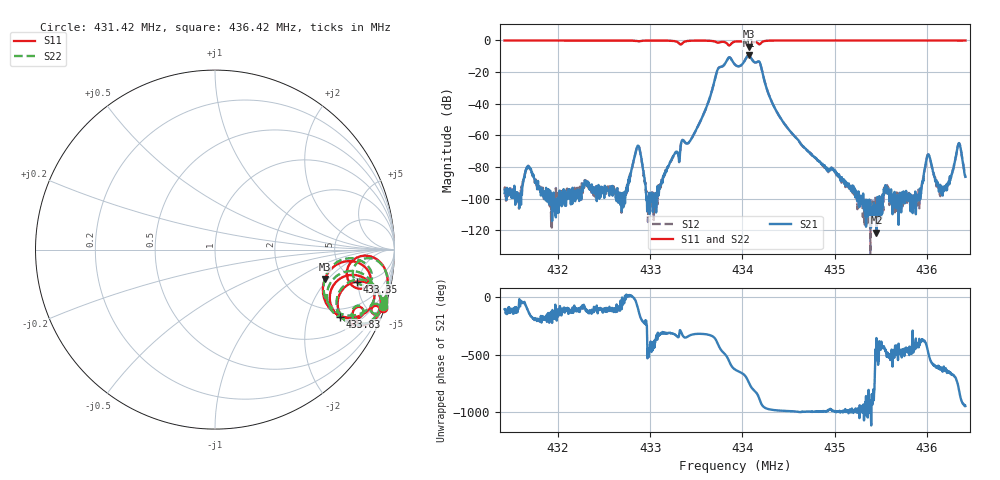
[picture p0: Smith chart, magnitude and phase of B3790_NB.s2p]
! Matrix data file written by TouchstoneData, EPCOS AG
! FILENAME: "B3790_SB.s2p"
! COMMENT: "1 Dec 2004 S11-NoP:1601;Caltype:FULL2PORT;P"
! INFO: nport=2, nfreq=1601
! DATE: "Wed Sep 19 15:42:08 2012"
! USER: "Wilfried Schott"
! port | pin | signal
!  1  |  2  |  IN
!  2  |  5  |  OUT
!  3  |  7  |  Coupling coil
# MHZ S MA R 50
! freq  magS11 angS11  magS21 angS21  magS12 angS12  magS22 angS22
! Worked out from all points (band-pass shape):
!   1601 points, 431.42 MHz to 436.42 MHz, reference 50 ohm
!   highest |S21| = -9.58 dB at 434.07 MHz (marker M1); lowest = -121.6 dB at 435.45 MHz (marker M2)
!   |S21| within 3 dB of the highest: 433.8325 MHz to 433.8862 MHz (53.67 kHz wide, 0.0124 % of centre); 434.0274 MHz to 434.1094 MHz (81.96 kHz wide, 0.0189 % of centre)
!   lowest |S11| = -4.0 dB at 434.07 MHz (marker M3), VSWR 4.46, Z = 169 - j92.5 ohm
!   |S11| at or under -10 dB: nowhere
!   |S22| runs from -4.0 to -0.1 dB; largest |S21 - S12| = 0.0011
!   S11 on the Smith chart (normalised r, x): 431.42 MHz: 0.23, -5.94; 433.35 MHz: 4.55, -4.74; 433.83 MHz: 1.60, -3.23; 436.42 MHz: 0.31, -6.69
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431.42  0.9877 -19.1  1.485e-05 -103.4  1.824e-05 -103.3  0.9862 -18.7
432.2544  0.9869 -19.7  1.688e-05 -85.9  9.311e-06 -54.9  0.9854 -19.3
432.7825  0.9785 -21.5  5.589e-05 17.9  4.85e-05 15.6  0.9754 -21.2
432.8669  0.9351 -21.3  0.0004655 -95.3  0.000465 -95.3  0.9253 -20.3
432.9356  0.9725 -19.6  4.777e-05 140.0  3.598e-05 149.0  0.9738 -19.2
433.0888  0.9805 -21.6  1.765e-05 48.1  2.622e-05 46.7  0.9794 -21.3
433.3512  0.8112 -12.7  0.0007177 28.1  0.0007138 28.7  0.8258 -11.6
433.47  0.9738 -18.5  0.001022 37.3  0.001025 37.5  0.9735 -18.2
433.7325  0.8444 -24.8  0.1204 -44.9  0.1201 -44.7  0.8381 -24.5
433.8325  0.7923 -28.3  0.235 -160.0  0.2343 -159.9  0.7813 -28.5
433.92  0.9093 -14.1  0.1706 88.6  0.1701 88.7  0.9064 -13.0
434.0669  0.6335 -15.0  0.3321 -20.4  0.3312 -20.3  0.6334 -14.3
434.1794  0.7569 -12.5  0.217 -157.1  0.2165 -156.9  0.7877 -11.4
434.3825  0.9841 -12.2  0.00494 90.1  0.004919 90.4  0.9828 -12.0
434.7544  0.9881 -15.3  0.0002309 77.5  0.0002358 81.2  0.9868 -14.9
434.9075  0.9881 -15.8  8.792e-05 83.0  9.094e-05 84.0  0.9868 -15.4
435.4544  0.9884 -16.7  8.329e-07 4.3  1.146e-06 -79.2  0.9868 -16.3
435.5888  0.9867 -16.7  1.566e-05 -162.0  1.246e-05 -156.3  0.9857 -16.4
436.0169  0.9836 -17.1  0.000249 -121.9  0.0002444 -121.8  0.9825 -16.7
436.27  0.9874 -17.4  5.568e-05 45.4  5.183e-05 49.8  0.986 -17.0
436.3512  0.9742 -17.4  0.0005672 -95.0  0.0005577 -94.9  0.9735 -16.8
436.42  0.9864 -17.0  4.86e-05 128.4  4.521e-05 130.3  0.9851 -16.6
